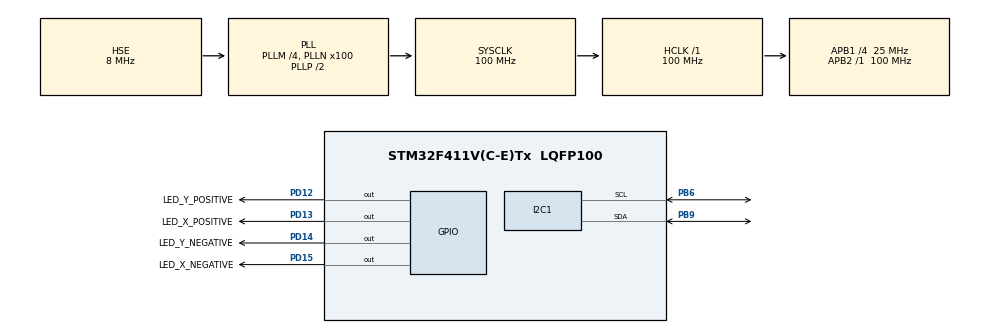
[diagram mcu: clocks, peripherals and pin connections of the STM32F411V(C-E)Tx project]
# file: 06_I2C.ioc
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I2C1.I2C_Mode=I2C_Fast
Mcu.Family=STM32F4
Mcu.Name=STM32F411V(C-E)Tx
Mcu.Package=LQFP100
NVIC.PriorityGroup=NVIC_PRIORITYGROUP_4
PB6.Mode=I2C
PB6.Signal=I2C1_SCL
PB9.Mode=I2C
PB9.Signal=I2C1_SDA
PD12.GPIO_Label=LED_Y_POSITIVE
PD12.Signal=GPIO_Output
PD13.GPIO_Label=LED_X_POSITIVE
PD13.Signal=GPIO_Output
PD14.GPIO_Label=LED_Y_NEGATIVE
PD14.Signal=GPIO_Output
PD15.GPIO_Label=LED_X_NEGATIVE
PD15.Signal=GPIO_Output
PH0\ -\ OSC_IN.Mode=HSE-External-Oscillator
PH0\ -\ OSC_IN.Signal=RCC_OSC_IN
PH1\ -\ OSC_OUT.Mode=HSE-External-Oscillator
PH1\ -\ OSC_OUT.Signal=RCC_OSC_OUT
ProjectManager.HeapSize=0x200
ProjectManager.StackSize=0x400
ProjectManager.TargetToolchain=SW4STM32
RCC.48MHZClocksFreq_Value=50000000
RCC.AHBFreq_Value=100000000
RCC.APB1CLKDivider=RCC_HCLK_DIV4
RCC.APB1Freq_Value=25000000
RCC.APB1TimFreq_Value=50000000
RCC.APB2Freq_Value=100000000
RCC.APB2TimFreq_Value=100000000
RCC.CortexFreq_Value=100000000
RCC.HCLKFreq_Value=100000000
RCC.HSE_VALUE=8000000
RCC.HSI_VALUE=16000000
RCC.LSE_VALUE=32768
RCC.PLLM=4
RCC.PLLN=100
RCC.PLLSourceVirtual=RCC_PLLSOURCE_HSE
RCC.SYSCLKFreq_VALUE=100000000
RCC.SYSCLKSource=RCC_SYSCLKSOURCE_PLLCLK
RCC.VCOOutputFreq_Value=200000000
board=06_I2C

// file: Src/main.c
/**
  ******************************************************************************
  * File Name          : main.c
  * Description        : Main program body
  ******************************************************************************
  *
  * COPYRIGHT(c) 2017 STMicroelectronics
  *
  * Redistribution and use in source and binary forms, with or without modification,
  * are permitted provided that the following conditions are met:
  *   1. Redistributions of source code must retain the above copyright notice,
  *      this list of conditions and the following disclaimer.
  *   2. Redistributions in binary form must reproduce the above copyright notice,
  *      this list of conditions and the following disclaimer in the documentation
  *      and/or other materials provided with the distribution.
  *   3. Neither the name of STMicroelectronics nor the names of its contributors
  *      may be used to endorse or promote products derived from this software
  *      without specific prior written permission.
  *
  * THIS SOFTWARE IS PROVIDED BY THE COPYRIGHT HOLDERS AND CONTRIBUTORS "AS IS"
  * AND ANY EXPRESS OR IMPLIED WARRANTIES, INCLUDING, BUT NOT LIMITED TO, THE
  * IMPLIED WARRANTIES OF MERCHANTABILITY AND FITNESS FOR A PARTICULAR PURPOSE ARE
  * DISCLAIMED. IN NO EVENT SHALL THE COPYRIGHT HOLDER OR CONTRIBUTORS BE LIABLE
  * FOR ANY DIRECT, INDIRECT, INCIDENTAL, SPECIAL, EXEMPLARY, OR CONSEQUENTIAL
  * DAMAGES (INCLUDING, BUT NOT LIMITED TO, PROCUREMENT OF SUBSTITUTE GOODS OR
  * SERVICES; LOSS OF USE, DATA, OR PROFITS; OR BUSINESS INTERRUPTION) HOWEVER
  * CAUSED AND ON ANY THEORY OF LIABILITY, WHETHER IN CONTRACT, STRICT LIABILITY,
  * OR TORT (INCLUDING NEGLIGENCE OR OTHERWISE) ARISING IN ANY WAY OUT OF THE USE
  * OF THIS SOFTWARE, EVEN IF ADVISED OF THE POSSIBILITY OF SUCH DAMAGE.
  *
  ******************************************************************************
  */
#include "main.h"
#include "stm32f4xx_hal.h"

/* USER CODE BEGIN Includes */
#include <limits.h>
#include <math.h>
/* USER CODE END Includes */

I2C_HandleTypeDef hi2c1;

/* USER CODE BEGIN PV */
/* Private variables ---------------------------------------------------------*/

//Rejestry
#define LSM303_ACC_ADDRESS (0x19 << 1) // adres akcelerometru: 0011 001x
#define LSM303_ACC_CTRL_REG1_A 0x20 // rejestr ustawien 1
#define LSM303_ACC_CTRL_REG3_A 0x22 // rejestr ustawien 3
#define LSM303_ACC_Z_H_A 0x2D // wyzszy bajt danych osi Z
#define LSM303_ACC_Z_L_A 0x2C // nizszy bajt danych osi Z
#define LSM303_ACC_X_L_A 0x28 // nizszy bajt danych osi X

// mlodszy bajt danych osi Z z najstarszym bitem ustawionym na 1 w celu
// wymuszenia autoinkrementacji adresow rejestru w urzadzeniu docelowym
// (zeby moc odczytac wiecej danych na raz)
#define LSM303_ACC_Z_L_A_MULTI_READ (LSM303_ACC_Z_L_A | 0x80)

// mlodszy bajt danych osi X z najstarszym bitem ustawionym na 1 w celu
// wymuszenia autoinkrementacji adresow rejestru w urzadzeniu docelowym
// (zeby moc odczytac wiecej danych na raz)
#define LSM303_ACC_X_L_A_MULTI_READ (LSM303_ACC_X_L_A | 0x80)

// Maski bitowe
// CTRL_REG1_A = [ODR3][ODR2][ODR1][ODR0][LPEN][ZEN][YEN][XEN]
#define LSM303_ACC_Z_ENABLE 0x04 // 0000 0100
#define LSM303_ACC_XYZ_ENABLE 0x07 // 0000 0111
#define LSM303_ACC_100HZ 0x50 //0101 0000
#define LSM303_ACC_1HZ 0x10 //0001 0000

// CTRL_REG3_A = [CLICK][AOI1][AOI2][DRDY_1][DRDY_2][WTM][OVERRUN][---]
#define LSM303_ACC_I1_DRDY1 0x10 //0001 0000
#define LSM303_ACC_I1_DRDY2 0x08 //0000 1000

#define LSM303_ACC_RESOLUTION 2.0 // Maksymalna wartosc mierzalnego przyspieszenia [g]

// Zmienne
uint8_t Data[6]; // Zmienna do bezposredniego odczytu danych z akcelerometru
int16_t Xaxis = 0; // Zawiera przeksztalcona forme odczytanych danych z osi X
int16_t Yaxis = 0; // Zawiera przeksztalcona forme odczytanych danych z osi Y
int16_t Zaxis = 0; // Zawiera przeksztalcona forme odczytanych danych z osi Z

float Xaxis_g = 0; // Zawiera przyspieszenie w osi X przekstalcone na jednostke fizyczna [g]
float Yaxis_g = 0; // Zawiera przyspieszenie w osi Y przekstalcone na jednostke fizyczna [g]
float Zaxis_g = 0; // Zawiera przyspieszenie w osi Z przekstalcone na jednostke fizyczna [g]

//float R_g = 0; // Dlugosc wektora przyspieszenia bedacego zlozeniem przyspieszenia kazdej z osi [g]

/* USER CODE END PV */

void SystemClock_Config(void);
void Error_Handler(void);
static void MX_GPIO_Init(void);
static void MX_I2C1_Init(void);

/* USER CODE BEGIN PFP */
/* Private function prototypes -----------------------------------------------*/

/* USER CODE END PFP */

int main(void)
{

  /* MCU Configuration----------------------------------------------------------*/

  /* Reset of all peripherals, Initializes the Flash interface and the Systick. */
  HAL_Init();

  /* Configure the system clock */
  SystemClock_Config();

  /* Initialize all configured peripherals */
  MX_GPIO_Init();
  MX_I2C1_Init();

  /* USER CODE BEGIN 2 */
	// wypelnieine zmiennej konfiguracyjnej odpowiednimi opcjami
	uint8_t Settings = LSM303_ACC_XYZ_ENABLE | LSM303_ACC_100HZ;

	// Wpisanie konfiguracji do rejestru akcelerometru
	HAL_I2C_Mem_Write(&hi2c1, LSM303_ACC_ADDRESS, LSM303_ACC_CTRL_REG1_A, 1, &Settings, 1, 100);

	Settings = LSM303_ACC_I1_DRDY2;
	HAL_I2C_Mem_Write(&hi2c1, LSM303_ACC_ADDRESS, LSM303_ACC_CTRL_REG3_A, 1, &Settings, 1, 100);
  /* USER CODE END 2 */

  /* Infinite loop */
  /* USER CODE BEGIN WHILE */
  while (1)
  {
		// Pobranie 6 bajtow danych zawierajacych przyspieszenia w 3 osiach
		HAL_I2C_Mem_Read(&hi2c1, LSM303_ACC_ADDRESS, LSM303_ACC_X_L_A_MULTI_READ, 1, Data, 6, 100);

		// Konwersja odebranych bajtow danych na typ int16_t
		Xaxis = ((Data[1] << 8) | Data[0]);
		Yaxis = ((Data[3] << 8) | Data[2]);
		Zaxis = ((Data[5] << 8) | Data[4]);

		// obliczenie przyspieszen w kazdej z osi w jednostce SI [g]
		Xaxis_g = ((float) Xaxis * LSM303_ACC_RESOLUTION) / (float) INT16_MAX;
		Yaxis_g = ((float) Yaxis * LSM303_ACC_RESOLUTION) / (float) INT16_MAX;
		Zaxis_g = ((float) Zaxis * LSM303_ACC_RESOLUTION) / (float) INT16_MAX;

		// prog, po przekroczeniu ktorego wykona sie okreslona nizej akcja [g]
		const float Threshold = 0.5;

		// Sterowanie diodami na podstawie przyspieszenia w osi X
		if (Xaxis_g > Threshold) { // jezeli przyspieszenie w osi X jest wieksze niz ustalony prog
			HAL_GPIO_WritePin(LED_X_POSITIVE_GPIO_Port, LED_X_POSITIVE_Pin, GPIO_PIN_SET); // zapal diode
		} else if (Xaxis_g < -Threshold) { // jezeli przyspieszenie w osi X jest mniejsze niz ustalony prog
			HAL_GPIO_WritePin(LED_X_NEGATIVE_GPIO_Port, LED_X_NEGATIVE_Pin, GPIO_PIN_SET); // zapal diode
		} else { // w przeciwnym razie zgas wszystkie diody
			HAL_GPIO_WritePin(LED_X_POSITIVE_GPIO_Port, LED_X_POSITIVE_Pin, GPIO_PIN_RESET);
			HAL_GPIO_WritePin(LED_X_NEGATIVE_GPIO_Port, LED_X_NEGATIVE_Pin, GPIO_PIN_RESET);
		}

		// Sterowanie diodami na podstawie przyspieszenia w osi Y
		if (Yaxis_g > Threshold) { // jezeli przyspieszenie w osi Y jest wieksze niz ustalony prog
			HAL_GPIO_WritePin(LED_Y_POSITIVE_GPIO_Port, LED_Y_POSITIVE_Pin, GPIO_PIN_SET);
		} else if (Yaxis_g < -Threshold) { // jezeli przyspieszenie w osi Y jest mniejsze niz ustalony prog
			HAL_GPIO_WritePin(LED_Y_NEGATIVE_GPIO_Port, LED_Y_NEGATIVE_Pin, GPIO_PIN_SET);
		} else { // w przeciwnym razie zgas wszystkie diody
			HAL_GPIO_WritePin(LED_Y_POSITIVE_GPIO_Port, LED_Y_POSITIVE_Pin, GPIO_PIN_RESET);
			HAL_GPIO_WritePin(LED_Y_NEGATIVE_GPIO_Port, LED_Y_NEGATIVE_Pin, GPIO_PIN_RESET);
		}
  /* USER CODE END WHILE */

  }

}

/** System Clock Configuration
*/
void SystemClock_Config(void)
{

  RCC_OscInitTypeDef RCC_OscInitStruct;
  RCC_ClkInitTypeDef RCC_ClkInitStruct;

    /**Configure the main internal regulator output voltage
    */
  __HAL_RCC_PWR_CLK_ENABLE();

  __HAL_PWR_VOLTAGESCALING_CONFIG(PWR_REGULATOR_VOLTAGE_SCALE1);

    /**Initializes the CPU, AHB and APB busses clocks
    */
  RCC_OscInitStruct.OscillatorType = RCC_OSCILLATORTYPE_HSE;
  RCC_OscInitStruct.HSEState = RCC_HSE_ON;
  RCC_OscInitStruct.PLL.PLLState = RCC_PLL_ON;
  RCC_OscInitStruct.PLL.PLLSource = RCC_PLLSOURCE_HSE;
  RCC_OscInitStruct.PLL.PLLM = 4;
  RCC_OscInitStruct.PLL.PLLN = 100;
  RCC_OscInitStruct.PLL.PLLP = RCC_PLLP_DIV2;
  RCC_OscInitStruct.PLL.PLLQ = 4;
  if (HAL_RCC_OscConfig(&RCC_OscInitStruct) != HAL_OK)
  {
    Error_Handler();
  }

    /**Initializes the CPU, AHB and APB busses clocks
    */
  RCC_ClkInitStruct.ClockType = RCC_CLOCKTYPE_HCLK|RCC_CLOCKTYPE_SYSCLK
                              |RCC_CLOCKTYPE_PCLK1|RCC_CLOCKTYPE_PCLK2;
  RCC_ClkInitStruct.SYSCLKSource = RCC_SYSCLKSOURCE_PLLCLK;
  RCC_ClkInitStruct.AHBCLKDivider = RCC_SYSCLK_DIV1;
  RCC_ClkInitStruct.APB1CLKDivider = RCC_HCLK_DIV4;
  RCC_ClkInitStruct.APB2CLKDivider = RCC_HCLK_DIV1;

  if (HAL_RCC_ClockConfig(&RCC_ClkInitStruct, FLASH_LATENCY_3) != HAL_OK)
  {
    Error_Handler();
  }

    /**Configure the Systick interrupt time
    */
  HAL_SYSTICK_Config(HAL_RCC_GetHCLKFreq()/1000);

    /**Configure the Systick
    */
  HAL_SYSTICK_CLKSourceConfig(SYSTICK_CLKSOURCE_HCLK);

  /* SysTick_IRQn interrupt configuration */
  HAL_NVIC_SetPriority(SysTick_IRQn, 0, 0);
}

/* I2C1 init function */
static void MX_I2C1_Init(void)
{

  hi2c1.Instance = I2C1;
  hi2c1.Init.ClockSpeed = 400000;
  hi2c1.Init.DutyCycle = I2C_DUTYCYCLE_2;
  hi2c1.Init.OwnAddress1 = 0;
  hi2c1.Init.AddressingMode = I2C_ADDRESSINGMODE_7BIT;
  hi2c1.Init.DualAddressMode = I2C_DUALADDRESS_DISABLE;
  hi2c1.Init.OwnAddress2 = 0;
  hi2c1.Init.GeneralCallMode = I2C_GENERALCALL_DISABLE;
  hi2c1.Init.NoStretchMode = I2C_NOSTRETCH_DISABLE;
  if (HAL_I2C_Init(&hi2c1) != HAL_OK)
  {
    Error_Handler();
  }

}

/** Configure pins as
        * Analog
        * Input
        * Output
        * EVENT_OUT
        * EXTI
*/
static void MX_GPIO_Init(void)
{

  GPIO_InitTypeDef GPIO_InitStruct;

  /* GPIO Ports Clock Enable */
  __HAL_RCC_GPIOH_CLK_ENABLE();
  __HAL_RCC_GPIOD_CLK_ENABLE();
  __HAL_RCC_GPIOB_CLK_ENABLE();

  /*Configure GPIO pin Output Level */
  HAL_GPIO_WritePin(GPIOD, LED_Y_POSITIVE_Pin|LED_X_POSITIVE_Pin|LED_Y_NEGATIVE_Pin|LED_X_NEGATIVE_Pin, GPIO_PIN_RESET);

  /*Configure GPIO pins : LED_Y_POSITIVE_Pin LED_X_POSITIVE_Pin LED_Y_NEGATIVE_Pin LED_X_NEGATIVE_Pin */
  GPIO_InitStruct.Pin = LED_Y_POSITIVE_Pin|LED_X_POSITIVE_Pin|LED_Y_NEGATIVE_Pin|LED_X_NEGATIVE_Pin;
  GPIO_InitStruct.Mode = GPIO_MODE_OUTPUT_PP;
  GPIO_InitStruct.Pull = GPIO_NOPULL;
  GPIO_InitStruct.Speed = GPIO_SPEED_FREQ_LOW;
  HAL_GPIO_Init(GPIOD, &GPIO_InitStruct);

}

void Error_Handler(void)
{
  while(1)
  {
  }
}

/************************ (C) COPYRIGHT STMicroelectronics *****END OF FILE****/
